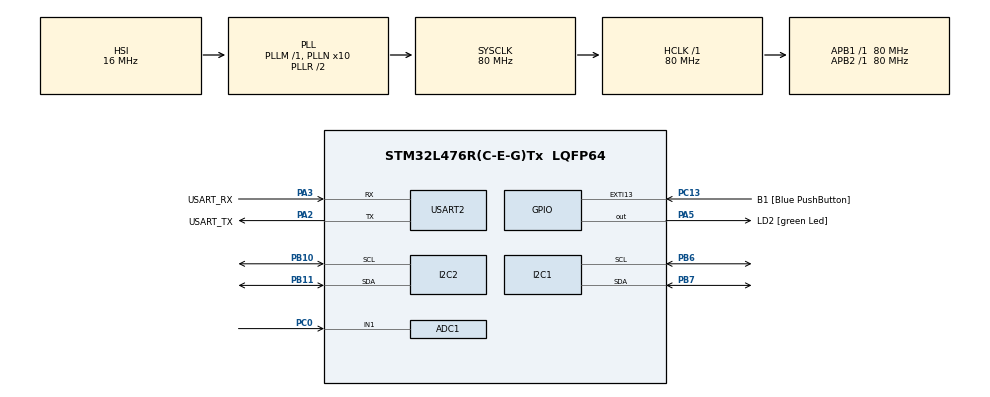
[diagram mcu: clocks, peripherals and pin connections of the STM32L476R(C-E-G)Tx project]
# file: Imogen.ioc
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ADC1.Channel-0\#ChannelRegularConversion=ADC_CHANNEL_1
ADC1.NbrOfConversionFlag=1
ADC1.OffsetNumber-0\#ChannelRegularConversion=ADC_OFFSET_NONE
ADC1.Rank-0\#ChannelRegularConversion=1
ADC1.SamplingTime-0\#ChannelRegularConversion=ADC_SAMPLETIME_247CYCLES_5
ADC1.master=1
I2C1.Timing=0x10D19CE4
I2C2.Timing=0x10D19CE4
Mcu.Family=STM32L4
Mcu.Name=STM32L476R(C-E-G)Tx
Mcu.Package=LQFP64
NVIC.I2C1_ER_IRQn=true\:0\:0\:false\:false\:true\:true\:true\:true
NVIC.I2C1_EV_IRQn=true\:0\:0\:false\:false\:true\:true\:true\:true
NVIC.I2C2_ER_IRQn=true\:0\:0\:false\:false\:true\:true\:true\:true
NVIC.I2C2_EV_IRQn=true\:0\:0\:false\:false\:true\:true\:true\:true
NVIC.PriorityGroup=NVIC_PRIORITYGROUP_4
NVIC.TIM1_BRK_TIM15_IRQn=true\:0\:0\:false\:false\:true\:true\:true\:true
NVIC.TIM1_CC_IRQn=true\:0\:0\:false\:false\:true\:true\:true\:true
NVIC.TIM1_TRG_COM_TIM17_IRQn=true\:0\:0\:false\:false\:true\:true\:true\:true
NVIC.TIM1_UP_TIM16_IRQn=true\:0\:0\:false\:false\:true\:true\:true\:true
NVIC.USART2_IRQn=true\:0\:0\:false\:false\:true\:true\:true\:true
PA13\ (JTMS-SWDIO).GPIO_Label=TMS
PA13\ (JTMS-SWDIO).Mode=Serial_Wire
PA13\ (JTMS-SWDIO).Signal=SYS_JTMS-SWDIO
PA14\ (JTCK-SWCLK).GPIO_Label=TCK
PA14\ (JTCK-SWCLK).Mode=Serial_Wire
PA14\ (JTCK-SWCLK).Signal=SYS_JTCK-SWCLK
PA2.GPIO_Label=USART_TX
PA2.GPIO_Mode=GPIO_MODE_AF_PP
PA2.GPIO_PuPd=GPIO_NOPULL
PA2.GPIO_Speed=GPIO_SPEED_FREQ_VERY_HIGH
PA2.Mode=Asynchronous
PA2.Signal=USART2_TX
PA3.GPIO_Label=USART_RX
PA3.GPIO_Mode=GPIO_MODE_AF_PP
PA3.GPIO_PuPd=GPIO_NOPULL
PA3.GPIO_Speed=GPIO_SPEED_FREQ_VERY_HIGH
PA3.Mode=Asynchronous
PA3.Signal=USART2_RX
PA5.GPIO_Label=LD2 [green Led]
PA5.GPIO_ModeDefaultOutputPP=GPIO_MODE_OUTPUT_PP
PA5.GPIO_PuPd=GPIO_NOPULL
PA5.GPIO_Speed=GPIO_SPEED_FREQ_LOW
PA5.Signal=GPIO_Output
PB10.GPIO_Pu=GPIO_PULLUP
PB10.Mode=I2C
PB10.Signal=I2C2_SCL
PB11.GPIO_Pu=GPIO_PULLUP
PB11.Mode=I2C
PB11.Signal=I2C2_SDA
PB3\ (JTDO-TRACESWO).GPIO_Label=SWO
PB3\ (JTDO-TRACESWO).Signal=SYS_JTDO-SWO
PB6.GPIO_Pu=GPIO_PULLUP
PB6.Mode=I2C
PB6.Signal=I2C1_SCL
PB7.GPIO_Pu=GPIO_PULLUP
PB7.Mode=I2C
PB7.Signal=I2C1_SDA
PC0.Signal=ADCx_IN1
PC13.GPIO_Label=B1 [Blue PushButton]
PC13.GPIO_ModeDefaultEXTI=GPIO_MODE_IT_FALLING
PC13.GPIO_PuPd=GPIO_NOPULL
PC13.Signal=GPXTI13
PC14-OSC32_IN\ (PC14).Mode=LSE-External-Oscillator
PC14-OSC32_IN\ (PC14).Signal=RCC_OSC32_IN
PC15-OSC32_OUT\ (PC15).Mode=LSE-External-Oscillator
PC15-OSC32_OUT\ (PC15).Signal=RCC_OSC32_OUT
PH0-OSC_IN\ (PH0).Signal=RCC_OSC_IN
PH1-OSC_OUT\ (PH1).Signal=RCC_OSC_OUT
ProjectManager.HeapSize=0x200
ProjectManager.StackSize=0x400
ProjectManager.TargetToolchain=STM32CubeIDE
RCC.ADCFreq_Value=64000000
RCC.AHBFreq_Value=80000000
RCC.APB1Freq_Value=80000000
RCC.APB1TimFreq_Value=80000000
RCC.APB2Freq_Value=80000000
RCC.APB2TimFreq_Value=80000000
RCC.CortexFreq_Value=80000000
RCC.HCLKFreq_Value=80000000
RCC.HSE_VALUE=8000000
RCC.HSI_VALUE=16000000
RCC.MSI_VALUE=4000000
RCC.PLLN=10
RCC.PLLSourceVirtual=RCC_PLLSOURCE_HSI
RCC.PREFETCH_ENABLE=1
RCC.SYSCLKFreq_VALUE=80000000
RCC.SYSCLKSource=RCC_SYSCLKSOURCE_PLLCLK
RCC.USBFreq_Value=64000000
RCC.VCOOutputFreq_Value=160000000
SH.ADCx_IN1.0=ADC1_IN1,IN1-Single-Ended
TIM1.Prescaler=7999
USART2.VirtualMode-Asynchronous=VM_ASYNC
VP_TIM1_VS_ClockSourceINT.Mode=Internal
board=NUCLEO-L476RG

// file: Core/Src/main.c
/* USER CODE BEGIN Header */
/**
  ******************************************************************************
  * @file           : main.c
  * @brief          : Main program body
  ******************************************************************************
  * @attention
  *
  * Copyright (c) 2026 STMicroelectronics.
  * All rights reserved.
  *
  * This software is licensed under terms that can be found in the LICENSE file
  * in the root directory of this software component.
  * If no LICENSE file comes with this software, it is provided AS-IS.
  *
  ******************************************************************************
  */
/* USER CODE END Header */
#include "main.h"

/* USER CODE BEGIN Includes */
#include <stdio.h>
#include <string.h>
#include <math.h>
/* USER CODE END Includes */

/* USER CODE BEGIN PD */
#define LM75_ADDR (0x48 << 1)

#define LCD_I2C_ADDR   (0x27 << 1)
#define LCD_RS   0x01
#define LCD_RW   0x02
#define LCD_EN   0x04
#define LCD_BL   0x08

#define MQ7_FILTRO  20
/* USER CODE END PD */

ADC_HandleTypeDef hadc1;

I2C_HandleTypeDef hi2c1;
I2C_HandleTypeDef hi2c2;

TIM_HandleTypeDef htim1;

UART_HandleTypeDef huart2;

/* USER CODE BEGIN PV */
volatile uint8_t i2c1_tx_done = 0;
volatile uint8_t i2c1_rx_done = 0;
volatile uint8_t i2c2_tx_done = 0;
volatile uint8_t i2c2_rx_done = 0;
volatile uint8_t uart_tx_done  = 1;

uint8_t  lm75_reg_buf  = 0x00;
uint8_t  lm75_data_buf[2];
uint8_t  lcd_it_buf;
char     uart_tx_buf[64];

volatile uint8_t flag_1hz = 0;

uint32_t mq7_filter_buf[MQ7_FILTRO] = {0};
uint8_t  mq7_filter_idx   = 0;
uint8_t  mq7_filter_cheio = 0;
/* USER CODE END PV */

void SystemClock_Config(void);
static void MX_GPIO_Init(void);
static void MX_ADC1_Init(void);
static void MX_I2C1_Init(void);
static void MX_I2C2_Init(void);
static void MX_TIM1_Init(void);
static void MX_USART2_UART_Init(void);

/* USER CODE BEGIN 0 */
HAL_StatusTypeDef LM75_Temp(int16_t *temp) {
    i2c2_tx_done = 0;
    HAL_StatusTypeDef ret = HAL_I2C_Master_Transmit_IT(&hi2c2, (0x48 << 1), &lm75_reg_buf, 1);
    if (ret != HAL_OK) return ret;
    while (!i2c2_tx_done);

    i2c2_rx_done = 0;
    ret = HAL_I2C_Master_Receive_IT(&hi2c2, (0x48 << 1), lm75_data_buf, 2);
    if (ret != HAL_OK) return ret;
    while (!i2c2_rx_done);

    int16_t raw = (int16_t)((lm75_data_buf[0] << 8) | lm75_data_buf[1]);
    raw >>= 7;
    *temp = raw * 5;
    return HAL_OK;
}

static void lcd_send_it(uint8_t data) {
    lcd_it_buf = data;
    i2c1_tx_done = 0;
    HAL_I2C_Master_Transmit_IT(&hi2c1, (0x27 << 1), &lcd_it_buf, 1);
    while (!i2c1_tx_done);
}

static void lcd_pulse_en(uint8_t data) {
    lcd_send_it(data | LCD_EN | LCD_BL);
    lcd_send_it((data & ~LCD_EN) | LCD_BL);
}

static void lcd_write_nibble(uint8_t nibble, uint8_t rs) {
    uint8_t data = (nibble & 0xF0) | LCD_BL | (rs ? LCD_RS : 0);
    lcd_pulse_en(data);
}

static void lcd_write_byte(uint8_t byte, uint8_t rs) {
    lcd_write_nibble(byte & 0xF0, rs);
    lcd_write_nibble((byte << 4) & 0xF0, rs);
}

static void lcd_cmd(uint8_t cmd)  { lcd_write_byte(cmd, 0); HAL_Delay(2); }
static void lcd_char(char c)      { lcd_write_byte((uint8_t)c, 1); }

void LCD_Init(void) {
    HAL_Delay(50);
    lcd_write_nibble(0x30, 0); HAL_Delay(5);
    lcd_write_nibble(0x30, 0); HAL_Delay(1);
    lcd_write_nibble(0x30, 0); HAL_Delay(1);
    lcd_write_nibble(0x20, 0); HAL_Delay(1);
    lcd_cmd(0x28);
    lcd_cmd(0x0C);
    lcd_cmd(0x06);
    lcd_cmd(0x01);
    HAL_Delay(2);
}

void LCD_SetCursor(uint8_t col, uint8_t row) {
    uint8_t addr = (row == 0) ? (0x80 + col) : (0xC0 + col);
    lcd_cmd(addr);
}

void LCD_Print(const char *str) { while (*str) lcd_char(*str++); }
void LCD_Clear(void)            { lcd_cmd(0x01); HAL_Delay(2); }

void UART_Print_IT(const char *str) {
    while (!uart_tx_done);
    strncpy(uart_tx_buf, str, sizeof(uart_tx_buf) - 1);
    uart_tx_buf[sizeof(uart_tx_buf) - 1] = '\0';
    uart_tx_done = 0;
    HAL_UART_Transmit_IT(&huart2, (uint8_t *)uart_tx_buf, (uint16_t)strlen(uart_tx_buf));
}

uint32_t MQ7_ReadFiltered(void)
{
    HAL_ADC_Start(&hadc1);
    HAL_ADC_PollForConversion(&hadc1, 10);
    uint32_t raw = HAL_ADC_GetValue(&hadc1);
    HAL_ADC_Stop(&hadc1);

    /* Insere no buffer circular */
    mq7_filter_buf[mq7_filter_idx] = raw;
    mq7_filter_idx++;
    if (mq7_filter_idx >= MQ7_FILTRO) {
        mq7_filter_idx   = 0;
        mq7_filter_cheio = 1;
    }

    /* Calcula média */
    uint8_t  n    = mq7_filter_cheio ? MQ7_FILTRO : mq7_filter_idx;
    uint32_t soma = 0;
    for (uint8_t i = 0; i < n; i++)
        soma += mq7_filter_buf[i];

    /* Retorna já em mV */
    return ((soma / n) * 3300UL) / 4095UL;
}
/* USER CODE END 0 */

int main(void)
{

  /* MCU Configuration--------------------------------------------------------*/

  /* Reset of all peripherals, Initializes the Flash interface and the Systick. */
  HAL_Init();

  /* Configure the system clock */
  SystemClock_Config();

  /* Initialize all configured peripherals */
  MX_GPIO_Init();
  MX_ADC1_Init();
  MX_I2C1_Init();
  MX_I2C2_Init();
  MX_TIM1_Init();
  MX_USART2_UART_Init();
  /* USER CODE BEGIN 2 */
  char lcd_line1[17];
  char lcd_line2[17];

  HAL_ADCEx_Calibration_Start(&hadc1, ADC_SINGLE_ENDED);
  LCD_Init();
  LCD_Clear();
  LCD_SetCursor(0, 0); LCD_Print("  Termometro    ");
  LCD_SetCursor(0, 1); LCD_Print(" LM75 + MQ7     ");
  HAL_Delay(2000);
  LCD_Clear();
  HAL_TIM_Base_Start_IT(&htim1);
  /* USER CODE END 2 */

  /* Infinite loop */
  while (1)
  {

    /* USER CODE BEGIN 3 */
	  if (flag_1hz) {
	      flag_1hz = 0;

	      int16_t  temp = 0;
	      uint32_t mq7_mv   = MQ7_ReadFiltered();
	      float    mq7_ppm  = 0.0f;
	      if (mq7_mv > 0) {
	          float mv = (float)mq7_mv;
	          if (mv >= 5000.0f) mv = 4999.0f;
	          float ratio = (6.7567f * (5000.0f - mv)) / mv;
	          if (ratio > 0.0f) {
	              mq7_ppm = 100.0f * powf(ratio, -1.53f);
	          }
	      }

	      HAL_StatusTypeDef status = LM75_Temp(&temp);

	      if (status == HAL_OK) {
	          int16_t t_int  = temp / 10;
	          int16_t t_frac = temp % 10;
	          if (t_frac < 0) t_frac = -t_frac;

	          uint32_t ppm_int  = (uint32_t)mq7_ppm;
	          uint32_t ppm_frac = (uint32_t)(mq7_ppm * 1000.0f) % 1000;

	          snprintf(lcd_line1, sizeof(lcd_line1), "Temp: %d.%d%cC    ",
	                   t_int, t_frac, 0xDF);
	          snprintf(lcd_line2, sizeof(lcd_line2), "CO:%lu.%03luppm    ", ppm_int, ppm_frac);

	          LCD_SetCursor(0, 0); LCD_Print(lcd_line1);
	          LCD_SetCursor(0, 1); LCD_Print(lcd_line2);

	          char msg[64];
	          uint32_t ser_ppm_int  = (uint32_t)mq7_ppm;
	          uint32_t ser_ppm_frac = (uint32_t)(mq7_ppm * 1000.0f) % 1000;
	          snprintf(msg, sizeof(msg), "Temp:%d.%dC CO:%lumV(%lu.%03luppm)\r\n",
	                   t_int, t_frac, mq7_mv, ser_ppm_int, ser_ppm_frac);
	          UART_Print_IT(msg);
	      } else {
	          UART_Print_IT("ERRO: LM75 nao responde!\r\n");
	      }

	      HAL_GPIO_TogglePin(LD2_GPIO_Port, LD2_Pin);
	  }
  }
  /* USER CODE END 3 */
}

void SystemClock_Config(void)
{
  RCC_OscInitTypeDef RCC_OscInitStruct = {0};
  RCC_ClkInitTypeDef RCC_ClkInitStruct = {0};

  /** Configure the main internal regulator output voltage
  */
  if (HAL_PWREx_ControlVoltageScaling(PWR_REGULATOR_VOLTAGE_SCALE1) != HAL_OK)
  {
    Error_Handler();
  }

  /** Initializes the RCC Oscillators according to the specified parameters
  * in the RCC_OscInitTypeDef structure.
  */
  RCC_OscInitStruct.OscillatorType = RCC_OSCILLATORTYPE_HSI;
  RCC_OscInitStruct.HSIState = RCC_HSI_ON;
  RCC_OscInitStruct.HSICalibrationValue = RCC_HSICALIBRATION_DEFAULT;
  RCC_OscInitStruct.PLL.PLLState = RCC_PLL_ON;
  RCC_OscInitStruct.PLL.PLLSource = RCC_PLLSOURCE_HSI;
  RCC_OscInitStruct.PLL.PLLM = 1;
  RCC_OscInitStruct.PLL.PLLN = 10;
  RCC_OscInitStruct.PLL.PLLP = RCC_PLLP_DIV7;
  RCC_OscInitStruct.PLL.PLLQ = RCC_PLLQ_DIV2;
  RCC_OscInitStruct.PLL.PLLR = RCC_PLLR_DIV2;
  if (HAL_RCC_OscConfig(&RCC_OscInitStruct) != HAL_OK)
  {
    Error_Handler();
  }

  /** Initializes the CPU, AHB and APB buses clocks
  */
  RCC_ClkInitStruct.ClockType = RCC_CLOCKTYPE_HCLK|RCC_CLOCKTYPE_SYSCLK
                              |RCC_CLOCKTYPE_PCLK1|RCC_CLOCKTYPE_PCLK2;
  RCC_ClkInitStruct.SYSCLKSource = RCC_SYSCLKSOURCE_PLLCLK;
  RCC_ClkInitStruct.AHBCLKDivider = RCC_SYSCLK_DIV1;
  RCC_ClkInitStruct.APB1CLKDivider = RCC_HCLK_DIV1;
  RCC_ClkInitStruct.APB2CLKDivider = RCC_HCLK_DIV1;

  if (HAL_RCC_ClockConfig(&RCC_ClkInitStruct, FLASH_LATENCY_4) != HAL_OK)
  {
    Error_Handler();
  }
}

static void MX_ADC1_Init(void)
{

  ADC_MultiModeTypeDef multimode = {0};
  ADC_ChannelConfTypeDef sConfig = {0};

  /** Common config
  */
  hadc1.Instance = ADC1;
  hadc1.Init.ClockPrescaler = ADC_CLOCK_ASYNC_DIV1;
  hadc1.Init.Resolution = ADC_RESOLUTION_12B;
  hadc1.Init.DataAlign = ADC_DATAALIGN_RIGHT;
  hadc1.Init.ScanConvMode = ADC_SCAN_DISABLE;
  hadc1.Init.EOCSelection = ADC_EOC_SINGLE_CONV;
  hadc1.Init.LowPowerAutoWait = DISABLE;
  hadc1.Init.ContinuousConvMode = DISABLE;
  hadc1.Init.NbrOfConversion = 1;
  hadc1.Init.DiscontinuousConvMode = DISABLE;
  hadc1.Init.ExternalTrigConv = ADC_SOFTWARE_START;
  hadc1.Init.ExternalTrigConvEdge = ADC_EXTERNALTRIGCONVEDGE_NONE;
  hadc1.Init.DMAContinuousRequests = DISABLE;
  hadc1.Init.Overrun = ADC_OVR_DATA_PRESERVED;
  hadc1.Init.OversamplingMode = DISABLE;
  if (HAL_ADC_Init(&hadc1) != HAL_OK)
  {
    Error_Handler();
  }

  /** Configure the ADC multi-mode
  */
  multimode.Mode = ADC_MODE_INDEPENDENT;
  if (HAL_ADCEx_MultiModeConfigChannel(&hadc1, &multimode) != HAL_OK)
  {
    Error_Handler();
  }

  /** Configure Regular Channel
  */
  sConfig.Channel = ADC_CHANNEL_1;
  sConfig.Rank = ADC_REGULAR_RANK_1;
  sConfig.SamplingTime = ADC_SAMPLETIME_247CYCLES_5;
  sConfig.SingleDiff = ADC_SINGLE_ENDED;
  sConfig.OffsetNumber = ADC_OFFSET_NONE;
  sConfig.Offset = 0;
  if (HAL_ADC_ConfigChannel(&hadc1, &sConfig) != HAL_OK)
  {
    Error_Handler();
  }

}

static void MX_I2C1_Init(void)
{

  hi2c1.Instance = I2C1;
  hi2c1.Init.Timing = 0x10D19CE4;
  hi2c1.Init.OwnAddress1 = 0;
  hi2c1.Init.AddressingMode = I2C_ADDRESSINGMODE_7BIT;
  hi2c1.Init.DualAddressMode = I2C_DUALADDRESS_DISABLE;
  hi2c1.Init.OwnAddress2 = 0;
  hi2c1.Init.OwnAddress2Masks = I2C_OA2_NOMASK;
  hi2c1.Init.GeneralCallMode = I2C_GENERALCALL_DISABLE;
  hi2c1.Init.NoStretchMode = I2C_NOSTRETCH_DISABLE;
  if (HAL_I2C_Init(&hi2c1) != HAL_OK)
  {
    Error_Handler();
  }

  /** Configure Analogue filter
  */
  if (HAL_I2CEx_ConfigAnalogFilter(&hi2c1, I2C_ANALOGFILTER_ENABLE) != HAL_OK)
  {
    Error_Handler();
  }

  /** Configure Digital filter
  */
  if (HAL_I2CEx_ConfigDigitalFilter(&hi2c1, 0) != HAL_OK)
  {
    Error_Handler();
  }

}

static void MX_I2C2_Init(void)
{

  hi2c2.Instance = I2C2;
  hi2c2.Init.Timing = 0x10D19CE4;
  hi2c2.Init.OwnAddress1 = 0;
  hi2c2.Init.AddressingMode = I2C_ADDRESSINGMODE_7BIT;
  hi2c2.Init.DualAddressMode = I2C_DUALADDRESS_DISABLE;
  hi2c2.Init.OwnAddress2 = 0;
  hi2c2.Init.OwnAddress2Masks = I2C_OA2_NOMASK;
  hi2c2.Init.GeneralCallMode = I2C_GENERALCALL_DISABLE;
  hi2c2.Init.NoStretchMode = I2C_NOSTRETCH_DISABLE;
  if (HAL_I2C_Init(&hi2c2) != HAL_OK)
  {
    Error_Handler();
  }

  /** Configure Analogue filter
  */
  if (HAL_I2CEx_ConfigAnalogFilter(&hi2c2, I2C_ANALOGFILTER_ENABLE) != HAL_OK)
  {
    Error_Handler();
  }

  /** Configure Digital filter
  */
  if (HAL_I2CEx_ConfigDigitalFilter(&hi2c2, 0) != HAL_OK)
  {
    Error_Handler();
  }

}

static void MX_TIM1_Init(void)
{

  TIM_ClockConfigTypeDef sClockSourceConfig = {0};
  TIM_MasterConfigTypeDef sMasterConfig = {0};

  htim1.Instance = TIM1;
  htim1.Init.Prescaler = 7999;
  htim1.Init.CounterMode = TIM_COUNTERMODE_UP;
  htim1.Init.Period = 9999;
  htim1.Init.ClockDivision = TIM_CLOCKDIVISION_DIV1;
  htim1.Init.RepetitionCounter = 0;
  htim1.Init.AutoReloadPreload = TIM_AUTORELOAD_PRELOAD_DISABLE;
  if (HAL_TIM_Base_Init(&htim1) != HAL_OK)
  {
    Error_Handler();
  }
  sClockSourceConfig.ClockSource = TIM_CLOCKSOURCE_INTERNAL;
  if (HAL_TIM_ConfigClockSource(&htim1, &sClockSourceConfig) != HAL_OK)
  {
    Error_Handler();
  }
  sMasterConfig.MasterOutputTrigger = TIM_TRGO_RESET;
  sMasterConfig.MasterOutputTrigger2 = TIM_TRGO2_RESET;
  sMasterConfig.MasterSlaveMode = TIM_MASTERSLAVEMODE_DISABLE;
  if (HAL_TIMEx_MasterConfigSynchronization(&htim1, &sMasterConfig) != HAL_OK)
  {
    Error_Handler();
  }

}

static void MX_USART2_UART_Init(void)
{

  huart2.Instance = USART2;
  huart2.Init.BaudRate = 115200;
  huart2.Init.WordLength = UART_WORDLENGTH_8B;
  huart2.Init.StopBits = UART_STOPBITS_1;
  huart2.Init.Parity = UART_PARITY_NONE;
  huart2.Init.Mode = UART_MODE_TX_RX;
  huart2.Init.HwFlowCtl = UART_HWCONTROL_NONE;
  huart2.Init.OverSampling = UART_OVERSAMPLING_16;
  huart2.Init.OneBitSampling = UART_ONE_BIT_SAMPLE_DISABLE;
  huart2.AdvancedInit.AdvFeatureInit = UART_ADVFEATURE_NO_INIT;
  if (HAL_UART_Init(&huart2) != HAL_OK)
  {
    Error_Handler();
  }

}

static void MX_GPIO_Init(void)
{
  GPIO_InitTypeDef GPIO_InitStruct = {0};

  /* GPIO Ports Clock Enable */
  __HAL_RCC_GPIOC_CLK_ENABLE();
  __HAL_RCC_GPIOH_CLK_ENABLE();
  __HAL_RCC_GPIOA_CLK_ENABLE();
  __HAL_RCC_GPIOB_CLK_ENABLE();

  /*Configure GPIO pin Output Level */
  HAL_GPIO_WritePin(LD2_GPIO_Port, LD2_Pin, GPIO_PIN_RESET);

  /*Configure GPIO pin : B1_Pin */
  GPIO_InitStruct.Pin = B1_Pin;
  GPIO_InitStruct.Mode = GPIO_MODE_IT_FALLING;
  GPIO_InitStruct.Pull = GPIO_NOPULL;
  HAL_GPIO_Init(B1_GPIO_Port, &GPIO_InitStruct);

  /*Configure GPIO pin : LD2_Pin */
  GPIO_InitStruct.Pin = LD2_Pin;
  GPIO_InitStruct.Mode = GPIO_MODE_OUTPUT_PP;
  GPIO_InitStruct.Pull = GPIO_NOPULL;
  GPIO_InitStruct.Speed = GPIO_SPEED_FREQ_LOW;
  HAL_GPIO_Init(LD2_GPIO_Port, &GPIO_InitStruct);

  /* EXTI interrupt init*/
  HAL_NVIC_SetPriority(EXTI15_10_IRQn, 0, 0);
  HAL_NVIC_EnableIRQ(EXTI15_10_IRQn);

}

/* USER CODE BEGIN 4 */
void HAL_I2C_MasterTxCpltCallback(I2C_HandleTypeDef *hi2c)
{
    if (hi2c->Instance == I2C1) i2c1_tx_done = 1;
    if (hi2c->Instance == I2C2) i2c2_tx_done = 1;
}

void HAL_I2C_MasterRxCpltCallback(I2C_HandleTypeDef *hi2c)
{
    if (hi2c->Instance == I2C1) i2c1_rx_done = 1;
    if (hi2c->Instance == I2C2) i2c2_rx_done = 1;
}

void HAL_I2C_ErrorCallback(I2C_HandleTypeDef *hi2c)
{
    if (hi2c->Instance == I2C1) { i2c1_tx_done = 1; i2c1_rx_done = 1; }
    if (hi2c->Instance == I2C2) { i2c2_tx_done = 1; i2c2_rx_done = 1; }
}

void HAL_UART_TxCpltCallback(UART_HandleTypeDef *huart)
{
    if (huart->Instance == USART2) uart_tx_done = 1;
}

void HAL_TIM_PeriodElapsedCallback(TIM_HandleTypeDef *htim)
{
    if (htim->Instance == TIM1) flag_1hz = 1;
}
/* USER CODE END 4 */

void Error_Handler(void)
{
  __disable_irq();
  while (1)
  {
  }
}
